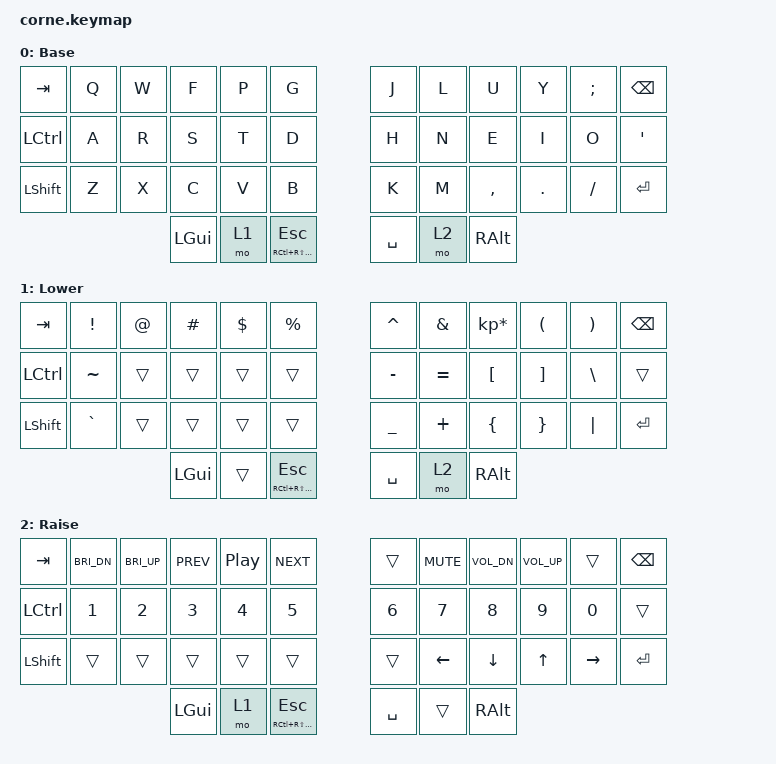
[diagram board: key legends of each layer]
/*
 * Copyright (c) 2020 The ZMK Contributors
 *
 * SPDX-License-Identifier: MIT
 */


#include <behaviors.dtsi>
#include <dt-bindings/zmk/keys.h>
#include <dt-bindings/zmk/bt.h>


/ {
        behaviors {
          tp: tap_preferred {
            compatible = "zmk,behavior-hold-tap";
            label = "TAP_PREFERRED";
            #binding-cells = <2>;
            tapping-term-ms = <150>;
            quick-tap-ms = <0>;
            flavor = "tap-preferred";
            bindings = <&kp>, <&kp>;
          }; 
        };

        keymap {
                compatible = "zmk,keymap";

                default_layer {
// -----------------------------------------------------------------------------------------
// | TAB  |  Q  |  W  |  F  |  P  |  G  |         |  J  |  L   |  U  |  Y  |  ;  | BKSP |
// | CTRL |  A  |  R  |  S  |  T  |  D  |         |  H  |  N   |  E  |  I  |  O  |  '   |
// | SHFT |  Z  |  X  |  C  |  V  |  B  |         |  K  |  M   |  ,  |  .  |  /  | ENT  |
//                    | GUI | LWR | HYPER/ESC |   | SPC | RSE  | ALT |
                        display-name = "Base";
                        bindings = <
        &kp TAB   &kp Q &kp W &kp F    &kp P &kp G            &kp J     &kp L  &kp U     &kp Y   &kp SEMI &kp BSPC
        &kp LCTRL &kp A &kp R &kp S    &kp T &kp D            &kp H     &kp N  &kp E     &kp I   &kp O    &kp SQT
        &kp LSHFT &kp Z &kp X &kp C    &kp V &kp B            &kp K     &kp M  &kp COMMA &kp DOT &kp FSLH &kp RET
                     &kp LGUI &mo 1 &tp RC(RS(RA(RGUI))) ESC  &kp SPACE &mo 2  &kp RALT
                        >;
                };
                layer_below {
// -----------------------------------------------------------------------------------------
// | TAB  |  !  |  @  |  #  |  $  |  %  |         |  ^  |  &  |  *  |  (  |  )  | BKSP |
// | CTRL |  ~  |     |     |     |     |         |  -  |  =  |  [  |  ]  |  \  |      |
// | SHFT |  `  |     |     |     |     |         |  _  |  +  |  {  |  }  | "|" | ENT  |
//                    | GUI |     | HYPER/ESC |   | SPC | RSE | ALT |
                        display-name = "Lower";
                        bindings = <
   &kp TAB   &kp EXCL  &kp AT &kp HASH &kp DLLR &kp PRCNT                 &kp CARET &kp AMPS  &kp KP_MULTIPLY &kp LPAR &kp RPAR &kp BSPC
   &kp LCTRL &kp TILDE &trans &trans   &trans   &trans                    &kp MINUS &kp EQUAL &kp LBKT        &kp RBKT &kp BSLH &trans
   &kp LSHFT &kp GRAVE &trans &trans   &trans   &trans                    &kp UNDER &kp PLUS  &kp LBRC        &kp RBRC &kp PIPE &kp RET
                              &kp LGUI &trans   &tp RC(RS(RA(RGUI))) ESC  &kp SPACE &mo 2     &kp RALT
                        >;
                };
                layer_above {
// -----------------------------------------------------------------------------------------
// | TAB  | BRID | BRID | PRV | PP  | NXT |         |     | MUTE | VOLD | VOLU |     | BKSP |
// | CTRL |  1   |  2   |  3  |  4  |  5  |         |  6  |  7   |  8   |  9   | 0   |      |
// | SHFT |      |      |     |     |     |         |     | LFT  | DWN  | UP   | RGT | ENT  |
//                      | GUI | LWR | HYPER/ESC |   | SPC |      | ALT  |
                        display-name = "Raise";
                        bindings = <
&kp TAB   &kp C_BRI_DN &kp C_BRI_UP &kp C_PREV &kp C_PP &kp C_NEXT                &trans    &kp C_MUTE &kp C_VOL_DN &kp C_VOL_UP &trans    &kp BSPC
&kp LCTRL &kp N1       &kp N2       &kp N3     &kp N4   &kp N5                    &kp N6    &kp N7     &kp N8       &kp N9       &kp N0    &trans
&kp LSHFT &trans       &trans       &trans     &trans   &trans                    &trans    &kp LEFT   &kp DOWN     &kp UP       &kp RIGHT &kp RET
                                    &kp LGUI   &mo 1    &tp RC(RS(RA(RGUI))) ESC  &kp SPACE &trans     &kp RALT
                        >;
                };
        };
};
